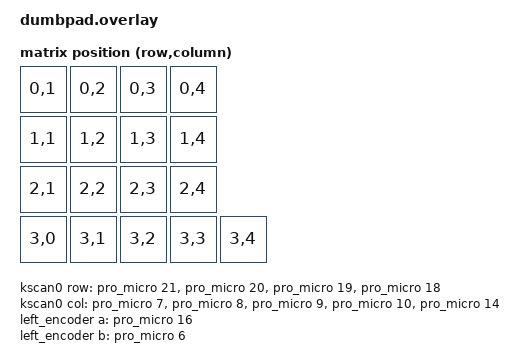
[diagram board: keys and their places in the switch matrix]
/*
 * Copyright (c) 2023 Daniel Ferrer
 *
 * SPDX-License-Identifier: MIT
 */

#include <dt-bindings/zmk/matrix_transform.h>

/ {
    chosen {
        zmk,kscan = &kscan0;
        zmk,matrix_transform = &default_transform;
    };

    default_transform: keymap_transform_0 {
        compatible = "zmk,matrix-transform";
        columns = <5>;
        rows = <4>;

        map = <
RC(0,1) RC(0,2) RC(0,3) RC(0,4)
RC(1,1) RC(1,2) RC(1,3) RC(1,4)
RC(2,1) RC(2,2) RC(2,3) RC(2,4)
RC(3,0) RC(3,1) RC(3,2) RC(3,3) RC(3,4)
        >;
    };

    kscan0: kscan {
        compatible = "zmk,kscan-gpio-matrix";
        label = "KSCAN";

        diode-direction = "col2row";
        row-gpios
            = <&pro_micro 21 (GPIO_ACTIVE_HIGH | GPIO_PULL_DOWN)>  // F4
            , <&pro_micro 20 (GPIO_ACTIVE_HIGH | GPIO_PULL_DOWN)>  // F5
            , <&pro_micro 19 (GPIO_ACTIVE_HIGH | GPIO_PULL_DOWN)>  // F6
            , <&pro_micro 18 (GPIO_ACTIVE_HIGH | GPIO_PULL_DOWN)>  // F7
            ;
        
        col-gpios
            = <&pro_micro 7 GPIO_ACTIVE_HIGH>   // C6
            , <&pro_micro 8 GPIO_ACTIVE_HIGH>   // D7
            , <&pro_micro 9 GPIO_ACTIVE_HIGH>   // E6
            , <&pro_micro 10 GPIO_ACTIVE_HIGH>  // B4
            , <&pro_micro 14 GPIO_ACTIVE_HIGH>  // B5
            ;
    };

    left_encoder: encoder_left {
        compatible = "alps,ec11";
        label = "LEFT_ENCODER";
        a-gpios = <&pro_micro 16 (GPIO_ACTIVE_HIGH | GPIO_PULL_UP)>;  // B2
        b-gpios = <&pro_micro 6 (GPIO_ACTIVE_HIGH | GPIO_PULL_UP)>;   // D4
        resolution = <2>;
        status = "okay";
    };

    sensors {
        compatible = "zmk,keymap-sensors";
        sensors = <&left_encoder>;
    };

    // TODO: per-key RGB node(s)?
};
